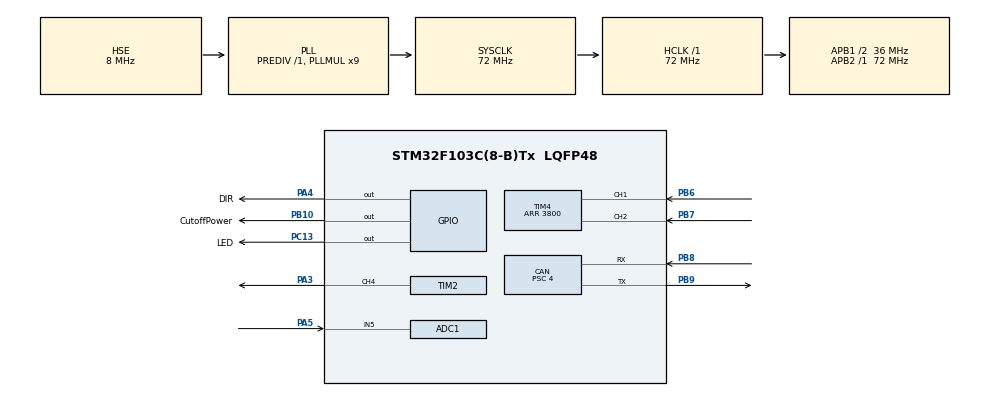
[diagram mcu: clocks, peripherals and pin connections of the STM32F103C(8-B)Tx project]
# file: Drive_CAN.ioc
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ADC1.Channel-2\#ChannelRegularConversion=ADC_CHANNEL_5
ADC1.ContinuousConvMode=ENABLE
ADC1.NbrOfConversionFlag=1
ADC1.Rank-2\#ChannelRegularConversion=1
ADC1.SamplingTime-2\#ChannelRegularConversion=ADC_SAMPLETIME_1CYCLE_5
ADC1.master=1
CAN.BS1=CAN_BS1_14TQ
CAN.BS2=CAN_BS2_3TQ
CAN.CalculateBaudRate=500000
CAN.CalculateTimeBit=2000
CAN.CalculateTimeQuantum=111.11111111111111
CAN.Prescaler=4
Mcu.Family=STM32F1
Mcu.Name=STM32F103C(8-B)Tx
Mcu.Package=LQFP48
NVIC.ADC1_2_IRQn=true\:0\:0\:false\:false\:true\:true\:true\:true
NVIC.CAN1_RX1_IRQn=true\:0\:0\:false\:false\:true\:true\:true\:true
NVIC.PriorityGroup=NVIC_PRIORITYGROUP_4
NVIC.TIM4_IRQn=true\:0\:0\:false\:false\:true\:true\:true\:true
PA13.Mode=Serial_Wire
PA13.Signal=SYS_JTMS-SWDIO
PA14.Mode=Serial_Wire
PA14.Signal=SYS_JTCK-SWCLK
PA3.Signal=S_TIM2_CH4
PA4.GPIO_Label=DIR
PA4.Signal=GPIO_Output
PA5.Signal=ADCx_IN5
PB10.GPIO_Label=CutoffPower
PB10.Signal=GPIO_Output
PB6.Signal=S_TIM4_CH1
PB7.Signal=S_TIM4_CH2
PB8.Mode=CAN_Activate
PB8.Signal=CAN_RX
PB9.Mode=CAN_Activate
PB9.Signal=CAN_TX
PC13-TAMPER-RTC.GPIO_Label=LED
PC13-TAMPER-RTC.Signal=GPIO_Output
PD0-OSC_IN.Mode=HSE-External-Oscillator
PD0-OSC_IN.Signal=RCC_OSC_IN
PD1-OSC_OUT.Mode=HSE-External-Oscillator
PD1-OSC_OUT.Signal=RCC_OSC_OUT
ProjectManager.HeapSize=0x200
ProjectManager.StackSize=0x400
ProjectManager.TargetToolchain=STM32CubeIDE
RCC.ADCPresc=RCC_ADCPCLK2_DIV6
RCC.AHBFreq_Value=72000000
RCC.APB1CLKDivider=RCC_HCLK_DIV2
RCC.APB1Freq_Value=36000000
RCC.APB1TimFreq_Value=72000000
RCC.APB2Freq_Value=72000000
RCC.APB2TimFreq_Value=72000000
RCC.HCLKFreq_Value=72000000
RCC.PLLMUL=RCC_PLL_MUL9
RCC.PLLSourceVirtual=RCC_PLLSOURCE_HSE
RCC.SYSCLKFreq_VALUE=72000000
RCC.SYSCLKSource=RCC_SYSCLKSOURCE_PLLCLK
RCC.USBFreq_Value=72000000
SH.ADCx_IN5.0=ADC1_IN5,IN5
SH.S_TIM2_CH4.0=TIM2_CH4,PWM Generation4 CH4
SH.S_TIM4_CH1.0=TIM4_CH1,Encoder_Interface
SH.S_TIM4_CH2.0=TIM4_CH2,Encoder_Interface
TIM2.Channel-PWM\ Generation4\ CH4=TIM_CHANNEL_4
TIM2.Period=255-1
TIM2.Prescaler=18-1
TIM4.AutoReloadPreload=TIM_AUTORELOAD_PRELOAD_ENABLE
TIM4.EncoderMode=TIM_ENCODERMODE_TI12
TIM4.IC1Filter=10
TIM4.IC2Filter=0
TIM4.Period=3800
VP_TIM2_VS_ClockSourceINT.Mode=Internal
board=custom

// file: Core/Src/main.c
/* USER CODE BEGIN Header */
/**
  ******************************************************************************
  * @file           : main.c
  * @brief          : Main program body
  ******************************************************************************
  * @attention
  *
  * Copyright (c) 2024 STMicroelectronics.
  * All rights reserved.
  *
  * This software is licensed under terms that can be found in the LICENSE file
  * in the root directory of this software component.
  * If no LICENSE file comes with this software, it is provided AS-IS.
  *
  ******************************************************************************
  */
/* USER CODE END Header */
#include "main.h"

/* USER CODE BEGIN Includes */
#include <math.h>
#include <stdio.h>
#include <string.h>

#define slope 0.1
#define offset 2.511

#define average_runs 50 // multiply this value with delay(x) for reading interval. currently (5) * 50 = 250 ms

#define length 9 //for length 9

/*
 *
 * TO DO LIST:
 * Make a deque like thinng with legnth "length" and median  ad the actual current.
 * This current median will be sent whenever encoder message is given. A dataCheck flag will be sent.
 */

/* USER CODE END Includes */

ADC_HandleTypeDef hadc1;

CAN_HandleTypeDef hcan;

TIM_HandleTypeDef htim2;
TIM_HandleTypeDef htim4;

void SystemClock_Config(void);
static void MX_GPIO_Init(void);
static void MX_CAN_Init(void);
static void MX_TIM4_Init(void);
static void MX_TIM2_Init(void);
static void MX_ADC1_Init(void);
/* USER CODE BEGIN PFP */
void resetEncoder(void); //function to reset encoder values when polling stops

/* USER CODE END PFP */

/* USER CODE BEGIN 0 */
//store ID of master CAN node
#define MASTER_ID 0x465

//store ID of first slave CAN node
#define SLAVE0_ID 0x550

//store the ID of the current slave node, change this when uploading
#define SLAVE_ID 0x553 //0x551 //0x552 //0x553

//how many pulses are seen on 1 full rotation
#define MAX_COUNT 3800

#define CURRENT_LENGTH 5 //the length of the array housing latest 'n' current readings --> keep odd SHOULD BE LESS THAN 20 OR EDIT THE MEDIAN FUNCTION

CAN_RxHeaderTypeDef RxHeader;
CAN_TxHeaderTypeDef TxHeader;
uint8_t RxData[8];
uint8_t TxData[8];
uint32_t TxMailbox;

uint8_t sysCheck=0; //000 -> 0
uint8_t polling=7; //111->7
uint8_t stopPoll=5; //101->5
uint8_t cutOffMotor=3; //011 ->3 --> send this value mode to forcefully cutoff the motor.

//define variables for storing encoder values
uint32_t currentEnc=0;
uint32_t previousEnc=0; //to calculate velocity
int16_t diff=0;
int32_t pos=0; //absolute position with accuracy of 6'
int16_t angPos=0; //angular position
uint8_t PWM=0;
uint8_t DIR=0; //PWM and DIR pins for motor direction and speed

//current sensor:

int CURRENT_MAX = 15;

uint64_t adc_sum = 0;
float current_sum = 0.0;
int counter = 0;

float latest_current = 0; //the latest current reading goes here

volatile uint16_t ADC_VAL;

float rounding(float x) {
   float frac = (x*100 - (int)(x*100))/100;
   return x - frac; //xx.xx value
}

void HAL_ADC_ConvCpltCallback(ADC_HandleTypeDef *hadc)
{
		ADC_VAL = HAL_ADC_GetValue(&hadc1);
		//HAL_ADC_Start_IT(&hadc1);  // Restart conversion --> ADC aldready in continious conversion mode hence not needed.
}

//median function: max 20 buffer here:
float median(const float *a, int n) {
    float temp[20];  // Safe since n < 20
    for (int i = 0; i < n; i++)
        temp[i] = a[i];

    // Partial selection sort up to median
    for (int i = 0; i <= n / 2; i++) {
        int min = i;
        for (int j = i + 1; j < n; j++)
            if (temp[j] < temp[min])
                min = j;
        float t = temp[i]; temp[i] = temp[min]; temp[min] = t;
    }

    return temp[n / 2];
}

/* USER CODE END 0 */

int main(void)
{

  /* MCU Configuration--------------------------------------------------------*/

  /* Reset of all peripherals, Initializes the Flash interface and the Systick. */
  HAL_Init();

  /* Configure the system clock */
  SystemClock_Config();

  /* Initialize all configured peripherals */
  MX_GPIO_Init();
  MX_CAN_Init();
  MX_TIM4_Init();
  MX_TIM2_Init();
  MX_ADC1_Init();
  /* USER CODE BEGIN 2 */
  HAL_CAN_Start(&hcan);
  HAL_CAN_ActivateNotification(&hcan, CAN_IT_RX_FIFO1_MSG_PENDING);

  //start PWM mode for the motor
  HAL_TIM_PWM_Start(&htim2, TIM_CHANNEL_4);
  TIM2->CCR4=0; //set initial PWM value as zero
  HAL_GPIO_WritePin(DIR_GPIO_Port, DIR_Pin,DIR); //set the initial value of DIR
  //start TIM4 in encoder mode to read the encoder pulses in 4x mode
  HAL_TIM_Encoder_Start(&htim4, TIM_CHANNEL_ALL);
  //Current sensor interrupt start:
  HAL_ADC_Start_IT(&hadc1); //start with interrupts

  TxHeader.IDE=CAN_ID_STD;
  TxHeader.RTR=CAN_RTR_DATA;
  TxHeader.StdId=SLAVE_ID; // ID of this CAN node

  /* USER CODE END 2 */

  /* Infinite loop */
  /* USER CODE BEGIN WHILE */

  float Voltage_Div = 1.5;

  float current_q[CURRENT_LENGTH] = {0};
  int q_counter = 0;

  while (1)
  {
	  HAL_Delay(5);

	  __disable_irq(); //disable interrupt

	  float voltage = ((ADC_VAL + 69.631)/(1249.362)) * Voltage_Div - offset;
	  float current = ((voltage)/slope);

	if(current > CURRENT_MAX){

		TxHeader.DLC=1;
		TxData[0] = 250; //Return value 250 if motor shutoff

		HAL_GPIO_WritePin(CutoffPower_GPIO_Port, CutoffPower_Pin, 0); //toggle the Nmos to off
		TIM2->CCR4 = 0;
		HAL_GPIO_WritePin(DIR_GPIO_Port, DIR_Pin, 0); //shutout directions and PWM

		//DELAY?? (REQUIRED??)
		HAL_Delay(3000); //3 second delay --> to reposition rover?

		if (HAL_CAN_AddTxMessage(&hcan, &TxHeader, TxData, &TxMailbox) != HAL_OK)
		{
			Error_Handler ();
		}
	}

	  current_sum += current;
	  adc_sum += ADC_VAL;
	  counter++;

	  if(counter == average_runs){
		  float avg_current = current_sum/average_runs;

		  avg_current = rounding(avg_current); //to closest x.x value

		  if(avg_current < 0){
			  avg_current = 0; // in no current state sometimes current reading -0.01 Ampere type stuff -> CAN cant handle since uint8_t is unisgned
		  }

		  //float avg_adc = ((float)adc_sum)/average_runs;

		  counter = 0;
		  current_sum = 0;
		  adc_sum = 0;

		  current_q[q_counter] = avg_current; //contains latest 5 readings
		  q_counter++;
		  q_counter = q_counter%CURRENT_LENGTH;

		  //calculate median:

		  latest_current = median(current_q, CURRENT_LENGTH);

	  }

	  __enable_irq(); //enable interupts again

    /* USER CODE END WHILE */

  }
}

void SystemClock_Config(void)
{
  RCC_OscInitTypeDef RCC_OscInitStruct = {0};
  RCC_ClkInitTypeDef RCC_ClkInitStruct = {0};
  RCC_PeriphCLKInitTypeDef PeriphClkInit = {0};

  /** Initializes the RCC Oscillators according to the specified parameters
  * in the RCC_OscInitTypeDef structure.
  */
  RCC_OscInitStruct.OscillatorType = RCC_OSCILLATORTYPE_HSE;
  RCC_OscInitStruct.HSEState = RCC_HSE_ON;
  RCC_OscInitStruct.HSEPredivValue = RCC_HSE_PREDIV_DIV1;
  RCC_OscInitStruct.HSIState = RCC_HSI_ON;
  RCC_OscInitStruct.PLL.PLLState = RCC_PLL_ON;
  RCC_OscInitStruct.PLL.PLLSource = RCC_PLLSOURCE_HSE;
  RCC_OscInitStruct.PLL.PLLMUL = RCC_PLL_MUL9;
  if (HAL_RCC_OscConfig(&RCC_OscInitStruct) != HAL_OK)
  {
    Error_Handler();
  }

  /** Initializes the CPU, AHB and APB buses clocks
  */
  RCC_ClkInitStruct.ClockType = RCC_CLOCKTYPE_HCLK|RCC_CLOCKTYPE_SYSCLK
                              |RCC_CLOCKTYPE_PCLK1|RCC_CLOCKTYPE_PCLK2;
  RCC_ClkInitStruct.SYSCLKSource = RCC_SYSCLKSOURCE_PLLCLK;
  RCC_ClkInitStruct.AHBCLKDivider = RCC_SYSCLK_DIV1;
  RCC_ClkInitStruct.APB1CLKDivider = RCC_HCLK_DIV2;
  RCC_ClkInitStruct.APB2CLKDivider = RCC_HCLK_DIV1;

  if (HAL_RCC_ClockConfig(&RCC_ClkInitStruct, FLASH_LATENCY_2) != HAL_OK)
  {
    Error_Handler();
  }
  PeriphClkInit.PeriphClockSelection = RCC_PERIPHCLK_ADC;
  PeriphClkInit.AdcClockSelection = RCC_ADCPCLK2_DIV6;
  if (HAL_RCCEx_PeriphCLKConfig(&PeriphClkInit) != HAL_OK)
  {
    Error_Handler();
  }
}

static void MX_ADC1_Init(void)
{

  ADC_ChannelConfTypeDef sConfig = {0};

  /** Common config
  */
  hadc1.Instance = ADC1;
  hadc1.Init.ScanConvMode = ADC_SCAN_DISABLE;
  hadc1.Init.ContinuousConvMode = ENABLE;
  hadc1.Init.DiscontinuousConvMode = DISABLE;
  hadc1.Init.ExternalTrigConv = ADC_SOFTWARE_START;
  hadc1.Init.DataAlign = ADC_DATAALIGN_RIGHT;
  hadc1.Init.NbrOfConversion = 1;
  if (HAL_ADC_Init(&hadc1) != HAL_OK)
  {
    Error_Handler();
  }

  /** Configure Regular Channel
  */
  sConfig.Channel = ADC_CHANNEL_5;
  sConfig.Rank = ADC_REGULAR_RANK_1;
  sConfig.SamplingTime = ADC_SAMPLETIME_239CYCLES_5;
  if (HAL_ADC_ConfigChannel(&hadc1, &sConfig) != HAL_OK)
  {
    Error_Handler();
  }

}

static void MX_CAN_Init(void)
{

  hcan.Instance = CAN1;
  hcan.Init.Prescaler = 4;
  hcan.Init.Mode = CAN_MODE_NORMAL;
  hcan.Init.SyncJumpWidth = CAN_SJW_1TQ;
  hcan.Init.TimeSeg1 = CAN_BS1_14TQ;
  hcan.Init.TimeSeg2 = CAN_BS2_3TQ;
  hcan.Init.TimeTriggeredMode = DISABLE;
  hcan.Init.AutoBusOff = DISABLE;
  hcan.Init.AutoWakeUp = DISABLE;
  hcan.Init.AutoRetransmission = DISABLE;
  hcan.Init.ReceiveFifoLocked = DISABLE;
  hcan.Init.TransmitFifoPriority = DISABLE;
  if (HAL_CAN_Init(&hcan) != HAL_OK)
  {
    Error_Handler();
  }
  /* USER CODE BEGIN CAN_Init 2 */
  CAN_FilterTypeDef canfilterconfig;

  canfilterconfig.FilterActivation = CAN_FILTER_ENABLE;
  canfilterconfig.FilterBank = 10;  // from 0 to 13, which filter bank to use from the assigned ones
  canfilterconfig.FilterFIFOAssignment = CAN_FILTER_FIFO1; //accept messages at FIFO1
  canfilterconfig.FilterIdHigh = MASTER_ID<<5; //accept from only master ID
  canfilterconfig.FilterIdLow = 0;
  canfilterconfig.FilterMaskIdHigh = 0b11111111111<<5;
  canfilterconfig.FilterMaskIdLow = 0x0000;
  canfilterconfig.FilterMode = CAN_FILTERMODE_IDMASK;
  canfilterconfig.FilterScale = CAN_FILTERSCALE_32BIT;
  canfilterconfig.SlaveStartFilterBank = 0;  // doesn't matter for single CAN MCUs

  HAL_CAN_ConfigFilter(&hcan, &canfilterconfig);

  /* USER CODE END CAN_Init 2 */

}

static void MX_TIM2_Init(void)
{

  TIM_ClockConfigTypeDef sClockSourceConfig = {0};
  TIM_MasterConfigTypeDef sMasterConfig = {0};
  TIM_OC_InitTypeDef sConfigOC = {0};

  htim2.Instance = TIM2;
  htim2.Init.Prescaler = 18-1;
  htim2.Init.CounterMode = TIM_COUNTERMODE_UP;
  htim2.Init.Period = 255-1;
  htim2.Init.ClockDivision = TIM_CLOCKDIVISION_DIV1;
  htim2.Init.AutoReloadPreload = TIM_AUTORELOAD_PRELOAD_DISABLE;
  if (HAL_TIM_Base_Init(&htim2) != HAL_OK)
  {
    Error_Handler();
  }
  sClockSourceConfig.ClockSource = TIM_CLOCKSOURCE_INTERNAL;
  if (HAL_TIM_ConfigClockSource(&htim2, &sClockSourceConfig) != HAL_OK)
  {
    Error_Handler();
  }
  if (HAL_TIM_PWM_Init(&htim2) != HAL_OK)
  {
    Error_Handler();
  }
  sMasterConfig.MasterOutputTrigger = TIM_TRGO_RESET;
  sMasterConfig.MasterSlaveMode = TIM_MASTERSLAVEMODE_DISABLE;
  if (HAL_TIMEx_MasterConfigSynchronization(&htim2, &sMasterConfig) != HAL_OK)
  {
    Error_Handler();
  }
  sConfigOC.OCMode = TIM_OCMODE_PWM1;
  sConfigOC.Pulse = 0;
  sConfigOC.OCPolarity = TIM_OCPOLARITY_HIGH;
  sConfigOC.OCFastMode = TIM_OCFAST_DISABLE;
  if (HAL_TIM_PWM_ConfigChannel(&htim2, &sConfigOC, TIM_CHANNEL_4) != HAL_OK)
  {
    Error_Handler();
  }
  HAL_TIM_MspPostInit(&htim2);

}

static void MX_TIM4_Init(void)
{

  TIM_Encoder_InitTypeDef sConfig = {0};
  TIM_MasterConfigTypeDef sMasterConfig = {0};

  htim4.Instance = TIM4;
  htim4.Init.Prescaler = 0;
  htim4.Init.CounterMode = TIM_COUNTERMODE_UP;
  htim4.Init.Period = 3800;
  htim4.Init.ClockDivision = TIM_CLOCKDIVISION_DIV1;
  htim4.Init.AutoReloadPreload = TIM_AUTORELOAD_PRELOAD_ENABLE;
  sConfig.EncoderMode = TIM_ENCODERMODE_TI12;
  sConfig.IC1Polarity = TIM_ICPOLARITY_RISING;
  sConfig.IC1Selection = TIM_ICSELECTION_DIRECTTI;
  sConfig.IC1Prescaler = TIM_ICPSC_DIV1;
  sConfig.IC1Filter = 10;
  sConfig.IC2Polarity = TIM_ICPOLARITY_RISING;
  sConfig.IC2Selection = TIM_ICSELECTION_DIRECTTI;
  sConfig.IC2Prescaler = TIM_ICPSC_DIV1;
  sConfig.IC2Filter = 0;
  if (HAL_TIM_Encoder_Init(&htim4, &sConfig) != HAL_OK)
  {
    Error_Handler();
  }
  sMasterConfig.MasterOutputTrigger = TIM_TRGO_RESET;
  sMasterConfig.MasterSlaveMode = TIM_MASTERSLAVEMODE_DISABLE;
  if (HAL_TIMEx_MasterConfigSynchronization(&htim4, &sMasterConfig) != HAL_OK)
  {
    Error_Handler();
  }

}

static void MX_GPIO_Init(void)
{
  GPIO_InitTypeDef GPIO_InitStruct = {0};

  /* GPIO Ports Clock Enable */
  __HAL_RCC_GPIOC_CLK_ENABLE();
  __HAL_RCC_GPIOD_CLK_ENABLE();
  __HAL_RCC_GPIOA_CLK_ENABLE();
  __HAL_RCC_GPIOB_CLK_ENABLE();

  /*Configure GPIO pin Output Level */
  HAL_GPIO_WritePin(LED_GPIO_Port, LED_Pin, GPIO_PIN_RESET);

  /*Configure GPIO pin Output Level */
  HAL_GPIO_WritePin(DIR_GPIO_Port, DIR_Pin, GPIO_PIN_RESET);

  /*Configure GPIO pin Output Level */
  HAL_GPIO_WritePin(CutoffPower_GPIO_Port, CutoffPower_Pin, GPIO_PIN_RESET);

  /*Configure GPIO pin : LED_Pin */
  GPIO_InitStruct.Pin = LED_Pin;
  GPIO_InitStruct.Mode = GPIO_MODE_OUTPUT_PP;
  GPIO_InitStruct.Pull = GPIO_NOPULL;
  GPIO_InitStruct.Speed = GPIO_SPEED_FREQ_LOW;
  HAL_GPIO_Init(LED_GPIO_Port, &GPIO_InitStruct);

  /*Configure GPIO pin : DIR_Pin */
  GPIO_InitStruct.Pin = DIR_Pin;
  GPIO_InitStruct.Mode = GPIO_MODE_OUTPUT_PP;
  GPIO_InitStruct.Pull = GPIO_NOPULL;
  GPIO_InitStruct.Speed = GPIO_SPEED_FREQ_LOW;
  HAL_GPIO_Init(DIR_GPIO_Port, &GPIO_InitStruct);

  /*Configure GPIO pin : CutoffPower_Pin */
  GPIO_InitStruct.Pin = CutoffPower_Pin;
  GPIO_InitStruct.Mode = GPIO_MODE_OUTPUT_PP;
  GPIO_InitStruct.Pull = GPIO_NOPULL;
  GPIO_InitStruct.Speed = GPIO_SPEED_FREQ_LOW;
  HAL_GPIO_Init(CutoffPower_GPIO_Port, &GPIO_InitStruct);

}

/* USER CODE BEGIN 4 */
void HAL_CAN_RxFifo1MsgPendingCallback(CAN_HandleTypeDef *hcan1)
{
	//receive message stored in the CAN FIFO1 buffer
	if (HAL_CAN_GetRxMessage(hcan1, CAN_RX_FIFO1, &RxHeader, RxData) != HAL_OK)
	{
		Error_Handler();
	}

	//check if the message is coming from master node and whether it is meant for the current slave node
	//break down the command into qualifier and address
	uint8_t command=RxData[0]>>5; //look at the first 3 bits -> 8 modes max, see the mode

	uint8_t address=(command<<5)^RxData[0]; //address is contained in last 5 bits of the data byte

	if (RxHeader.DLC==3 && address==SLAVE_ID-SLAVE0_ID) //polling mode will send 3 bytes of data now
	{

		HAL_GPIO_WritePin(CutoffPower_GPIO_Port, CutoffPower_Pin, 1); //toggle the Nmos to on in case it is off

		if (command==polling)
		{
			//set PWM and direction pins
			PWM=RxData[1];
			DIR=RxData[2];
			TIM2->CCR4=PWM; //set the duty cycle as an 8 bit value that is received

			//set the direction pin
			HAL_GPIO_WritePin(DIR_GPIO_Port, DIR_Pin,DIR); //set the initial value of DIR

			//extract information about encoder and send to master node
			TxHeader.DLC=8; //send 8 bytes of data for encoder input

			currentEnc=TIM4->CNT; //get the current count of encoder
			if (currentEnc==previousEnc)
				diff=0; //no change in velocity
			else if (currentEnc>previousEnc)
			{
				if (__HAL_TIM_IS_TIM_COUNTING_DOWN(&htim4)) //underflow occurred
					diff=-previousEnc-__HAL_TIM_GET_AUTORELOAD(&htim4)+currentEnc;
				else
					diff=currentEnc-previousEnc;
			}
			else
			{
				if (__HAL_TIM_IS_TIM_COUNTING_DOWN(&htim4))
					diff=currentEnc-previousEnc;
				else //overflow occurred
					diff=currentEnc+__HAL_TIM_GET_AUTORELOAD(&htim4)-previousEnc;
			}
			pos+=diff;
			previousEnc=currentEnc;

			//performing the calculations for data transfer
			//first 4 bytes -> absolute position value
			//next 2 bytes -> angular position
			//next 2 bytes -> difference in encoder readings

			//extracting bytes for absolute encoder position
			uint8_t b0 = (pos>>24)&0xFF;
			uint8_t b1 = (pos>>16)&0xFF;
			uint8_t b2 = (pos>>8)&0xFF;
			uint8_t b3 = (pos)&0xFF;

			//extracting bytes for angular position
			angPos = round((3600.0*currentEnc)/MAX_COUNT);
			uint8_t b4 = (angPos>>8)&0xFF;
			uint8_t b5 = (angPos)&0xFF;

			//extracting bytes for difference in encoder values
			uint8_t b6 = (diff>>8)&0XFF;
			uint8_t b7 = (diff)&0xFF;

			//preparing data for transmission
			TxData[0]=b0;
			TxData[1]=b1;
			TxData[2]=b2;
			TxData[3]=b3;
			TxData[4]=b4;
			TxData[5]=b5;
			TxData[6]=b6;
			TxData[7]=b7;

			//send the CAN message
			if (HAL_CAN_AddTxMessage(&hcan, &TxHeader, TxData, &TxMailbox) != HAL_OK)
			{
				Error_Handler ();
			}

			//send current data also:

			TxHeader.DLC=2; //send 1 byte of data as current data

			//encode current into both bytes --> byte 1 for integer part, byte 2 for decimal part.
			TxData[0] = (uint8_t)(latest_current);  // integer part
			TxData[1] = (uint8_t)((latest_current - (int)(latest_current)) * 100.0);  // two decimal digits

			if (HAL_CAN_AddTxMessage(&hcan, &TxHeader, TxData, &TxMailbox) != HAL_OK)
			{
				Error_Handler ();
			}

			//toggle GPIO pin to indicate continuous message transmission
			//use this option for debugging
			HAL_GPIO_TogglePin(LED_GPIO_Port, LED_Pin);
		}

		else if(command == cutOffMotor){ //to force test the motors stopping

			TxHeader.DLC=1;
			TxData[0] = 255; //confirmation that turned off --> return max value 255 for testing return.

			HAL_GPIO_WritePin(CutoffPower_GPIO_Port, CutoffPower_Pin, 0); //toggle the Nmos to off

			if (HAL_CAN_AddTxMessage(&hcan, &TxHeader, TxData, &TxMailbox) != HAL_OK)
			{
				Error_Handler ();
			}

		}
	}

	if (RxHeader.DLC==1 && address==SLAVE_ID-SLAVE0_ID)
	{
		//perform the systems check of CAN nodes
		if (command==sysCheck)
		{
			TxHeader.DLC=1; //send 1 byte of data as a systems check
			TxData[0]=RxData[0];
			//transmit the received message back to master CAN node
			HAL_GPIO_TogglePin(LED_GPIO_Port, LED_Pin);
			if (HAL_CAN_AddTxMessage(&hcan, &TxHeader, TxData, &TxMailbox) != HAL_OK)
			{
				Error_Handler ();
			}

		}

	}

}

/* USER CODE END 4 */

void Error_Handler(void)
{
  __disable_irq();
  while (1)
  {
  }
}
